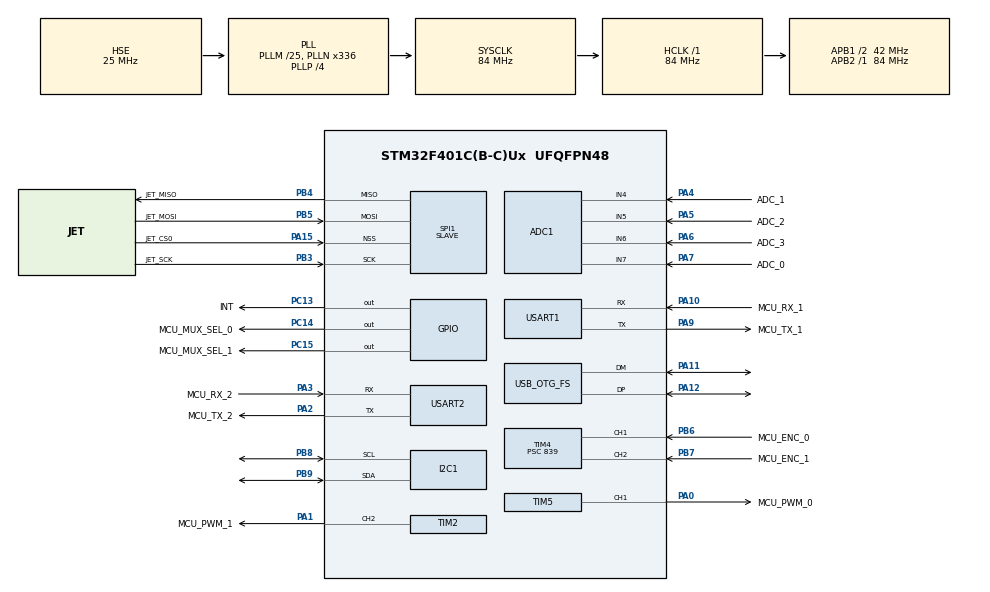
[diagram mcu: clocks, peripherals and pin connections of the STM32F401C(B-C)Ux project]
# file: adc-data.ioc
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ADC1.Channel-0\#ChannelRegularConversion=ADC_CHANNEL_4
ADC1.Channel-1\#ChannelRegularConversion=ADC_CHANNEL_4
ADC1.Channel-2\#ChannelRegularConversion=ADC_CHANNEL_4
ADC1.Channel-3\#ChannelRegularConversion=ADC_CHANNEL_4
ADC1.ContinuousConvMode=ENABLE
ADC1.DMAContinuousRequests=ENABLE
ADC1.EOCSelection=ADC_EOC_SEQ_CONV
ADC1.InjNumberOfConversion=0
ADC1.NbrOfConversion=4
ADC1.NbrOfConversionFlag=1
ADC1.Rank-0\#ChannelRegularConversion=1
ADC1.Rank-1\#ChannelRegularConversion=2
ADC1.Rank-2\#ChannelRegularConversion=3
ADC1.Rank-3\#ChannelRegularConversion=4
ADC1.SamplingTime-0\#ChannelRegularConversion=ADC_SAMPLETIME_3CYCLES
ADC1.SamplingTime-1\#ChannelRegularConversion=ADC_SAMPLETIME_3CYCLES
ADC1.SamplingTime-2\#ChannelRegularConversion=ADC_SAMPLETIME_3CYCLES
ADC1.SamplingTime-3\#ChannelRegularConversion=ADC_SAMPLETIME_3CYCLES
ADC1.ScanConvMode=ENABLE
ADC1.master=1
Dma.ADC1.0.Direction=DMA_PERIPH_TO_MEMORY
Dma.ADC1.0.FIFOMode=DMA_FIFOMODE_DISABLE
Dma.ADC1.0.Instance=DMA2_Stream4
Dma.ADC1.0.MemDataAlignment=DMA_MDATAALIGN_HALFWORD
Dma.ADC1.0.MemInc=DMA_MINC_ENABLE
Dma.ADC1.0.Mode=DMA_CIRCULAR
Dma.ADC1.0.PeriphDataAlignment=DMA_PDATAALIGN_HALFWORD
Dma.ADC1.0.PeriphInc=DMA_PINC_DISABLE
Dma.ADC1.0.Priority=DMA_PRIORITY_LOW
Dma.Request0=ADC1
Mcu.Family=STM32F4
Mcu.Name=STM32F401C(B-C)Ux
Mcu.Package=UFQFPN48
NVIC.ADC_IRQn=true\:0\:0\:false\:false\:true\:true\:true\:true
NVIC.DMA2_Stream4_IRQn=true\:0\:0\:false\:false\:true\:false\:true\:true
NVIC.I2C1_ER_IRQn=true\:0\:0\:false\:false\:true\:true\:true\:true
NVIC.I2C1_EV_IRQn=true\:0\:0\:false\:false\:true\:true\:true\:true
NVIC.OTG_FS_IRQn=true\:0\:0\:false\:false\:true\:false\:true\:true
NVIC.PriorityGroup=NVIC_PRIORITYGROUP_4
NVIC.SPI1_IRQn=true\:0\:0\:false\:false\:true\:true\:true\:true
NVIC.TIM2_IRQn=true\:0\:0\:false\:false\:true\:true\:true\:true
NVIC.TIM3_IRQn=true\:0\:0\:false\:false\:true\:true\:true\:true
NVIC.TIM4_IRQn=true\:0\:0\:false\:false\:true\:true\:true\:true
NVIC.TIM5_IRQn=true\:0\:0\:false\:false\:true\:true\:true\:true
PA0-WKUP.GPIO_Label=MCU_PWM_0
PA0-WKUP.Signal=S_TIM5_CH1
PA1.GPIO_Label=MCU_PWM_1
PA1.Signal=S_TIM2_CH2
PA10.GPIO_Label=MCU_RX_1
PA10.Mode=Asynchronous
PA10.Signal=USART1_RX
PA11.Mode=Device_Only
PA11.Signal=USB_OTG_FS_DM
PA12.Mode=Device_Only
PA12.Signal=USB_OTG_FS_DP
PA13.Mode=Serial_Wire
PA13.Signal=SYS_JTMS-SWDIO
PA14.Mode=Serial_Wire
PA14.Signal=SYS_JTCK-SWCLK
PA15.GPIO_Label=JET_CS0
PA15.Mode=NSS_Signal_Hard_Input
PA15.Signal=SPI1_NSS
PA2.GPIO_Label=MCU_TX_2
PA2.Mode=Asynchronous
PA2.Signal=USART2_TX
PA3.GPIO_Label=MCU_RX_2
PA3.Mode=Asynchronous
PA3.Signal=USART2_RX
PA4.GPIO_Label=ADC_1
PA4.Signal=ADCx_IN4
PA5.GPIO_Label=ADC_2
PA5.Signal=ADCx_IN5
PA6.GPIO_Label=ADC_3
PA6.Signal=ADCx_IN6
PA7.GPIO_Label=ADC_0
PA7.Signal=ADCx_IN7
PA9.GPIO_Label=MCU_TX_1
PA9.Mode=Asynchronous
PA9.Signal=USART1_TX
PB3.GPIO_Label=JET_SCK
PB3.Mode=Full_Duplex_Slave
PB3.Signal=SPI1_SCK
PB4.GPIO_Label=JET_MISO
PB4.Mode=Full_Duplex_Slave
PB4.Signal=SPI1_MISO
PB5.GPIO_Label=JET_MOSI
PB5.Mode=Full_Duplex_Slave
PB5.Signal=SPI1_MOSI
PB6.GPIO_Label=MCU_ENC_0
PB6.Signal=S_TIM4_CH1
PB7.GPIO_Label=MCU_ENC_1
PB7.Signal=S_TIM4_CH2
PB8.Mode=I2C
PB8.Signal=I2C1_SCL
PB9.Mode=I2C
PB9.Signal=I2C1_SDA
PC13-ANTI_TAMP.GPIO_Label=INT
PC13-ANTI_TAMP.Signal=GPIO_Output
PC14-OSC32_IN.GPIO_Label=MCU_MUX_SEL_0
PC14-OSC32_IN.Signal=GPIO_Output
PC15-OSC32_OUT.GPIO_Label=MCU_MUX_SEL_1
PC15-OSC32_OUT.Signal=GPIO_Output
PH0\ -\ OSC_IN.Mode=HSE-External-Oscillator
PH0\ -\ OSC_IN.Signal=RCC_OSC_IN
PH1\ -\ OSC_OUT.Mode=HSE-External-Oscillator
PH1\ -\ OSC_OUT.Signal=RCC_OSC_OUT
ProjectManager.HeapSize=0x200
ProjectManager.StackSize=0x400
ProjectManager.TargetToolchain=CMake
RCC.48MHZClocksFreq_Value=48000000
RCC.AHBFreq_Value=84000000
RCC.APB1CLKDivider=RCC_HCLK_DIV2
RCC.APB1Freq_Value=42000000
RCC.APB1TimFreq_Value=84000000
RCC.APB2Freq_Value=84000000
RCC.APB2TimFreq_Value=84000000
RCC.CortexFreq_Value=84000000
RCC.HCLKFreq_Value=84000000
RCC.HSE_VALUE=25000000
RCC.HSI_VALUE=16000000
RCC.LSE_VALUE=32768
RCC.PLLM=25
RCC.PLLN=336
RCC.PLLP=RCC_PLLP_DIV4
RCC.PLLQ=7
RCC.SYSCLKFreq_VALUE=84000000
RCC.SYSCLKSource=RCC_SYSCLKSOURCE_PLLCLK
RCC.VCOOutputFreq_Value=336000000
SH.ADCx_IN4.0=ADC1_IN4,IN4
SH.ADCx_IN5.0=ADC1_IN5,IN5
SH.ADCx_IN6.0=ADC1_IN6,IN6
SH.ADCx_IN7.0=ADC1_IN7,IN7
SH.S_TIM2_CH2.0=TIM2_CH2,PWM Generation2 CH2
SH.S_TIM4_CH1.0=TIM4_CH1,Encoder_Interface
SH.S_TIM4_CH2.0=TIM4_CH2,Encoder_Interface
SH.S_TIM5_CH1.0=TIM5_CH1,PWM Generation1 CH1
SPI1.CLKPhase=SPI_PHASE_2EDGE
SPI1.Direction=SPI_DIRECTION_2LINES
SPI1.Mode=SPI_MODE_SLAVE
SPI1.VirtualNSS=VM_NSSHARD
SPI1.VirtualType=VM_SLAVE
TIM2.Channel-PWM\ Generation2\ CH2=TIM_CHANNEL_2
TIM2.Period=1000
TIM2.Prescaler=839
TIM3.AutoReloadPreload=TIM_AUTORELOAD_PRELOAD_ENABLE
TIM3.Period=1000
TIM3.Prescaler=830
TIM4.Period=1000
TIM4.Prescaler=839
TIM5.AutoReloadPreload=TIM_AUTORELOAD_PRELOAD_ENABLE
TIM5.Channel-PWM\ Generation1\ CH1=TIM_CHANNEL_1
TIM5.Period=1000
TIM5.Prescaler=839
USART1.VirtualMode=VM_ASYNC
USART2.VirtualMode=VM_ASYNC
USB_DEVICE.CLASS_NAME_FS=CDC
USB_DEVICE.MANUFACTURER_STRING=BatChip
USB_DEVICE.PRODUCT_STRING_CDC_FS=BatPort
USB_DEVICE.VirtualMode=Cdc
USB_DEVICE.VirtualModeFS=Cdc_FS
USB_OTG_FS.VirtualMode=Device_Only
VP_ADC1_TempSens_Input.Mode=IN-TempSens
VP_TIM2_VS_ClockSourceINT.Mode=Internal
VP_TIM3_VS_ClockSourceINT.Mode=Internal
VP_TIM5_VS_ClockSourceINT.Mode=Internal
VP_USB_DEVICE_VS_USB_DEVICE_CDC_FS.Mode=CDC_FS
board=custom

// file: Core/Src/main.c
/* USER CODE BEGIN Header */
/* USER CODE END Header */
// ...existing code...
#include "main.h"
#include "usb_device.h"
#include "spi_rpc.h"
// ...existing code...
/* USER CODE BEGIN Includes */
#include <string.h>  // For memcpy
/* USER CODE END Includes */

ADC_HandleTypeDef hadc1;
DMA_HandleTypeDef hdma_adc1;

I2C_HandleTypeDef hi2c1;

SPI_HandleTypeDef hspi1;

TIM_HandleTypeDef htim2;
TIM_HandleTypeDef htim3;
TIM_HandleTypeDef htim4;
TIM_HandleTypeDef htim5;

UART_HandleTypeDef huart1;
UART_HandleTypeDef huart2;

/* USER CODE BEGIN PV */
//batmujik
uint16_t ADC_VAL[4];
int count = 0;
uint8_t rx_buffer[1]={'a'}; // Buffer for single byte reception
volatile uint8_t data_ready = 0; // Flag to indicate data is received

// Single byte for current transfer
volatile uint8_t spi_rx = 0; // Current received byte
volatile uint8_t spi_tx = 0; // Current transmit byte

// 64-byte buffers for production use
#define SPI_BUFFER_SIZE 64
volatile uint8_t spi_rx_buffer[SPI_BUFFER_SIZE] = {0}; // Receive buffer
volatile uint8_t spi_tx_buffer[SPI_BUFFER_SIZE] = {0}; // Transmit buffer
volatile uint8_t buffer_index = 0; // Current position in buffers
volatile uint8_t transfer_complete = 0; // Flag when transfer complete

volatile uint8_t counter = 0; // Counter for deterministic pattern
volatile uint8_t rx_buffer_large[64] = {0}; // Buffer for 64-byte payloads
volatile uint8_t tx_buffer_large[64] = {0}; // Buffer to send back
volatile uint8_t rx_index = 0; // Index for RX buffer
volatile uint8_t tx_index = 0; // Index for TX buffer
volatile uint8_t payload_received = 0; // Flag when 64 bytes received
volatile uint8_t sending_back = 0; // Flag indicating we're sending data back
/* USER CODE END PV */

void SystemClock_Config(void);
static void MX_GPIO_Init(void);
static void MX_DMA_Init(void);
static void MX_ADC1_Init(void);
static void MX_USART1_UART_Init(void);
static void MX_I2C1_Init(void);
static void MX_TIM2_Init(void);
static void MX_TIM3_Init(void);
static void MX_TIM4_Init(void);
static void MX_TIM5_Init(void);
static void MX_USART2_UART_Init(void);
static void MX_SPI1_Init(void);

int main(void)
{

  /* MCU Configuration--------------------------------------------------------*/

  /* Reset of all peripherals, Initializes the Flash interface and the Systick. */
  HAL_Init();

  /* Configure the system clock */
  SystemClock_Config();

  /* Initialize all configured peripherals */
  MX_GPIO_Init();
  MX_DMA_Init();
  MX_ADC1_Init();
  MX_USART1_UART_Init();
  MX_I2C1_Init();
  MX_TIM2_Init();
  MX_TIM3_Init();
  MX_TIM4_Init();
  MX_TIM5_Init();
  MX_USART2_UART_Init();
  MX_USB_DEVICE_Init();
  MX_SPI1_Init();
  /* USER CODE BEGIN 2 */
  // Initialize SPI RPC system
  spi_rpc_init();

  // Clear buffers completely
  memset((void*)spi_rx_buffer, 0, SPI_BUFFER_SIZE);
  memset((void*)spi_tx_buffer, 0, SPI_BUFFER_SIZE);

  HAL_TIM_Base_Start_IT(&htim5);
  HAL_TIM_Base_Start_IT(&htim3);
  HAL_TIM_Base_Start_IT(&htim2);

  HAL_TIM_PWM_Start(&htim2, TIM_CHANNEL_2);
  HAL_TIM_PWM_Start(&htim5, TIM_CHANNEL_1);
  // Start SPI slave reception
  //HAL_ADC_Start_DMA(&hadc1, ADC_VAL, 4);

  // Initialize TX buffer with 'A' for all bytes
  TIM5->CCR1 = 1500;

  // Receive all 64 bytes at once
  HAL_SPI_TransmitReceive_IT(&hspi1, (uint8_t*)spi_tx_buffer, (uint8_t*)spi_rx_buffer, SPI_BUFFER_SIZE);
  /* USER CODE END 2 */

  /* Infinite loop */
  /* USER CODE BEGIN WHILE */
  while (1) {

    // Check if we received a complete 64-byte payload
    if (payload_received) {
      payload_received = 0; // Clear flag
      // Payload is stored in rx_buffer_large[0-63]
      // It will be automatically sent back via the callback
    }
    // TIM5->CCR1=1000;
    // HAL_Delay(300); // Small delay
    // TIM5->CCR1=1500;
    // HAL_Delay(300); // Small delay
    // TIM5->CCR1=2000;
    // HAL_Delay(300); // Small delay
    // TIM5->CCR1=1000;
    // HAL_Delay(300); // Small delay
    /* USER CODE END WHILE */

  }
}

void SystemClock_Config(void)
{
  RCC_OscInitTypeDef RCC_OscInitStruct = {0};
  RCC_ClkInitTypeDef RCC_ClkInitStruct = {0};

  /** Configure the main internal regulator output voltage
  */
  __HAL_RCC_PWR_CLK_ENABLE();
  __HAL_PWR_VOLTAGESCALING_CONFIG(PWR_REGULATOR_VOLTAGE_SCALE2);

  /** Initializes the RCC Oscillators according to the specified parameters
  * in the RCC_OscInitTypeDef structure.
  */
  RCC_OscInitStruct.OscillatorType = RCC_OSCILLATORTYPE_HSE;
  RCC_OscInitStruct.HSEState = RCC_HSE_ON;
  RCC_OscInitStruct.PLL.PLLState = RCC_PLL_ON;
  RCC_OscInitStruct.PLL.PLLSource = RCC_PLLSOURCE_HSE;
  RCC_OscInitStruct.PLL.PLLM = 25;
  RCC_OscInitStruct.PLL.PLLN = 336;
  RCC_OscInitStruct.PLL.PLLP = RCC_PLLP_DIV4;
  RCC_OscInitStruct.PLL.PLLQ = 7;
  if (HAL_RCC_OscConfig(&RCC_OscInitStruct) != HAL_OK)
  {
    Error_Handler();
  }

  /** Initializes the CPU, AHB and APB buses clocks
  */
  RCC_ClkInitStruct.ClockType = RCC_CLOCKTYPE_HCLK|RCC_CLOCKTYPE_SYSCLK
                              |RCC_CLOCKTYPE_PCLK1|RCC_CLOCKTYPE_PCLK2;
  RCC_ClkInitStruct.SYSCLKSource = RCC_SYSCLKSOURCE_PLLCLK;
  RCC_ClkInitStruct.AHBCLKDivider = RCC_SYSCLK_DIV1;
  RCC_ClkInitStruct.APB1CLKDivider = RCC_HCLK_DIV2;
  RCC_ClkInitStruct.APB2CLKDivider = RCC_HCLK_DIV1;

  if (HAL_RCC_ClockConfig(&RCC_ClkInitStruct, FLASH_LATENCY_2) != HAL_OK)
  {
    Error_Handler();
  }
}

static void MX_ADC1_Init(void)
{

  ADC_ChannelConfTypeDef sConfig = {0};

  /** Configure the global features of the ADC (Clock, Resolution, Data Alignment and number of conversion)
  */
  hadc1.Instance = ADC1;
  hadc1.Init.ClockPrescaler = ADC_CLOCK_SYNC_PCLK_DIV4;
  hadc1.Init.Resolution = ADC_RESOLUTION_12B;
  hadc1.Init.ScanConvMode = ENABLE;
  hadc1.Init.ContinuousConvMode = ENABLE;
  hadc1.Init.DiscontinuousConvMode = DISABLE;
  hadc1.Init.ExternalTrigConvEdge = ADC_EXTERNALTRIGCONVEDGE_NONE;
  hadc1.Init.ExternalTrigConv = ADC_SOFTWARE_START;
  hadc1.Init.DataAlign = ADC_DATAALIGN_RIGHT;
  hadc1.Init.NbrOfConversion = 4;
  hadc1.Init.DMAContinuousRequests = ENABLE;
  hadc1.Init.EOCSelection = ADC_EOC_SEQ_CONV;
  if (HAL_ADC_Init(&hadc1) != HAL_OK)
  {
    Error_Handler();
  }

  /** Configure for the selected ADC regular channel its corresponding rank in the sequencer and its sample time.
  */
  sConfig.Channel = ADC_CHANNEL_4;
  sConfig.Rank = 1;
  sConfig.SamplingTime = ADC_SAMPLETIME_3CYCLES;
  if (HAL_ADC_ConfigChannel(&hadc1, &sConfig) != HAL_OK)
  {
    Error_Handler();
  }

  /** Configure for the selected ADC regular channel its corresponding rank in the sequencer and its sample time.
  */
  sConfig.Rank = 2;
  if (HAL_ADC_ConfigChannel(&hadc1, &sConfig) != HAL_OK)
  {
    Error_Handler();
  }

  /** Configure for the selected ADC regular channel its corresponding rank in the sequencer and its sample time.
  */
  sConfig.Rank = 3;
  if (HAL_ADC_ConfigChannel(&hadc1, &sConfig) != HAL_OK)
  {
    Error_Handler();
  }

  /** Configure for the selected ADC regular channel its corresponding rank in the sequencer and its sample time.
  */
  sConfig.Rank = 4;
  if (HAL_ADC_ConfigChannel(&hadc1, &sConfig) != HAL_OK)
  {
    Error_Handler();
  }

}

static void MX_I2C1_Init(void)
{

  hi2c1.Instance = I2C1;
  hi2c1.Init.ClockSpeed = 100000;
  hi2c1.Init.DutyCycle = I2C_DUTYCYCLE_2;
  hi2c1.Init.OwnAddress1 = 0;
  hi2c1.Init.AddressingMode = I2C_ADDRESSINGMODE_7BIT;
  hi2c1.Init.DualAddressMode = I2C_DUALADDRESS_DISABLE;
  hi2c1.Init.OwnAddress2 = 0;
  hi2c1.Init.GeneralCallMode = I2C_GENERALCALL_DISABLE;
  hi2c1.Init.NoStretchMode = I2C_NOSTRETCH_DISABLE;
  if (HAL_I2C_Init(&hi2c1) != HAL_OK)
  {
    Error_Handler();
  }

}

static void MX_SPI1_Init(void)
{

  /* SPI1 parameter configuration*/
  hspi1.Instance = SPI1;
  hspi1.Init.Mode = SPI_MODE_SLAVE;
  hspi1.Init.Direction = SPI_DIRECTION_2LINES;
  hspi1.Init.DataSize = SPI_DATASIZE_8BIT;
  hspi1.Init.CLKPolarity = SPI_POLARITY_LOW;
  hspi1.Init.CLKPhase = SPI_PHASE_2EDGE;
  hspi1.Init.NSS = SPI_NSS_HARD_INPUT;
  hspi1.Init.FirstBit = SPI_FIRSTBIT_MSB;
  hspi1.Init.TIMode = SPI_TIMODE_DISABLE;
  hspi1.Init.CRCCalculation = SPI_CRCCALCULATION_DISABLE;
  hspi1.Init.CRCPolynomial = 10;
  if (HAL_SPI_Init(&hspi1) != HAL_OK)
  {
    Error_Handler();
  }

}

static void MX_TIM2_Init(void)
{

  TIM_ClockConfigTypeDef sClockSourceConfig = {0};
  TIM_MasterConfigTypeDef sMasterConfig = {0};
  TIM_OC_InitTypeDef sConfigOC = {0};

  htim2.Instance = TIM2;
  htim2.Init.Prescaler = 839;
  htim2.Init.CounterMode = TIM_COUNTERMODE_UP;
  htim2.Init.Period = 1000;
  htim2.Init.ClockDivision = TIM_CLOCKDIVISION_DIV1;
  htim2.Init.AutoReloadPreload = TIM_AUTORELOAD_PRELOAD_DISABLE;
  if (HAL_TIM_Base_Init(&htim2) != HAL_OK)
  {
    Error_Handler();
  }
  sClockSourceConfig.ClockSource = TIM_CLOCKSOURCE_INTERNAL;
  if (HAL_TIM_ConfigClockSource(&htim2, &sClockSourceConfig) != HAL_OK)
  {
    Error_Handler();
  }
  if (HAL_TIM_PWM_Init(&htim2) != HAL_OK)
  {
    Error_Handler();
  }
  sMasterConfig.MasterOutputTrigger = TIM_TRGO_RESET;
  sMasterConfig.MasterSlaveMode = TIM_MASTERSLAVEMODE_DISABLE;
  if (HAL_TIMEx_MasterConfigSynchronization(&htim2, &sMasterConfig) != HAL_OK)
  {
    Error_Handler();
  }
  sConfigOC.OCMode = TIM_OCMODE_PWM1;
  sConfigOC.Pulse = 0;
  sConfigOC.OCPolarity = TIM_OCPOLARITY_HIGH;
  sConfigOC.OCFastMode = TIM_OCFAST_DISABLE;
  if (HAL_TIM_PWM_ConfigChannel(&htim2, &sConfigOC, TIM_CHANNEL_2) != HAL_OK)
  {
    Error_Handler();
  }
  HAL_TIM_MspPostInit(&htim2);

}

static void MX_TIM3_Init(void)
{

  TIM_ClockConfigTypeDef sClockSourceConfig = {0};
  TIM_MasterConfigTypeDef sMasterConfig = {0};

  htim3.Instance = TIM3;
  htim3.Init.Prescaler = 839;
  htim3.Init.CounterMode = TIM_COUNTERMODE_UP;
  htim3.Init.Period = 1000;
  htim3.Init.ClockDivision = TIM_CLOCKDIVISION_DIV1;
  htim3.Init.AutoReloadPreload = TIM_AUTORELOAD_PRELOAD_ENABLE;
  if (HAL_TIM_Base_Init(&htim3) != HAL_OK)
  {
    Error_Handler();
  }
  sClockSourceConfig.ClockSource = TIM_CLOCKSOURCE_INTERNAL;
  if (HAL_TIM_ConfigClockSource(&htim3, &sClockSourceConfig) != HAL_OK)
  {
    Error_Handler();
  }
  sMasterConfig.MasterOutputTrigger = TIM_TRGO_RESET;
  sMasterConfig.MasterSlaveMode = TIM_MASTERSLAVEMODE_DISABLE;
  if (HAL_TIMEx_MasterConfigSynchronization(&htim3, &sMasterConfig) != HAL_OK)
  {
    Error_Handler();
  }

}

static void MX_TIM4_Init(void)
{

  TIM_Encoder_InitTypeDef sConfig = {0};
  TIM_MasterConfigTypeDef sMasterConfig = {0};

  htim4.Instance = TIM4;
  htim4.Init.Prescaler = 839;
  htim4.Init.CounterMode = TIM_COUNTERMODE_UP;
  htim4.Init.Period = 1000;
  htim4.Init.ClockDivision = TIM_CLOCKDIVISION_DIV1;
  htim4.Init.AutoReloadPreload = TIM_AUTORELOAD_PRELOAD_DISABLE;
  sConfig.EncoderMode = TIM_ENCODERMODE_TI1;
  sConfig.IC1Polarity = TIM_ICPOLARITY_RISING;
  sConfig.IC1Selection = TIM_ICSELECTION_DIRECTTI;
  sConfig.IC1Prescaler = TIM_ICPSC_DIV1;
  sConfig.IC1Filter = 0;
  sConfig.IC2Polarity = TIM_ICPOLARITY_RISING;
  sConfig.IC2Selection = TIM_ICSELECTION_DIRECTTI;
  sConfig.IC2Prescaler = TIM_ICPSC_DIV1;
  sConfig.IC2Filter = 0;
  if (HAL_TIM_Encoder_Init(&htim4, &sConfig) != HAL_OK)
  {
    Error_Handler();
  }
  sMasterConfig.MasterOutputTrigger = TIM_TRGO_RESET;
  sMasterConfig.MasterSlaveMode = TIM_MASTERSLAVEMODE_DISABLE;
  if (HAL_TIMEx_MasterConfigSynchronization(&htim4, &sMasterConfig) != HAL_OK)
  {
    Error_Handler();
  }

}

static void MX_TIM5_Init(void)
{

  TIM_ClockConfigTypeDef sClockSourceConfig = {0};
  TIM_MasterConfigTypeDef sMasterConfig = {0};
  TIM_OC_InitTypeDef sConfigOC = {0};

  htim5.Instance = TIM5;
  htim5.Init.Prescaler = 83;
  htim5.Init.CounterMode = TIM_COUNTERMODE_UP;
  htim5.Init.Period = 10000;
  htim5.Init.ClockDivision = TIM_CLOCKDIVISION_DIV1;
  htim5.Init.AutoReloadPreload = TIM_AUTORELOAD_PRELOAD_ENABLE;
  if (HAL_TIM_Base_Init(&htim5) != HAL_OK)
  {
    Error_Handler();
  }
  sClockSourceConfig.ClockSource = TIM_CLOCKSOURCE_INTERNAL;
  if (HAL_TIM_ConfigClockSource(&htim5, &sClockSourceConfig) != HAL_OK)
  {
    Error_Handler();
  }
  if (HAL_TIM_PWM_Init(&htim5) != HAL_OK)
  {
    Error_Handler();
  }
  sMasterConfig.MasterOutputTrigger = TIM_TRGO_RESET;
  sMasterConfig.MasterSlaveMode = TIM_MASTERSLAVEMODE_DISABLE;
  if (HAL_TIMEx_MasterConfigSynchronization(&htim5, &sMasterConfig) != HAL_OK)
  {
    Error_Handler();
  }
  sConfigOC.OCMode = TIM_OCMODE_PWM1;
  sConfigOC.Pulse = 0;
  sConfigOC.OCPolarity = TIM_OCPOLARITY_HIGH;
  sConfigOC.OCFastMode = TIM_OCFAST_DISABLE;
  if (HAL_TIM_PWM_ConfigChannel(&htim5, &sConfigOC, TIM_CHANNEL_1) != HAL_OK)
  {
    Error_Handler();
  }
  HAL_TIM_MspPostInit(&htim5);

}

static void MX_USART1_UART_Init(void)
{

  huart1.Instance = USART1;
  huart1.Init.BaudRate = 115200;
  huart1.Init.WordLength = UART_WORDLENGTH_8B;
  huart1.Init.StopBits = UART_STOPBITS_1;
  huart1.Init.Parity = UART_PARITY_NONE;
  huart1.Init.Mode = UART_MODE_TX_RX;
  huart1.Init.HwFlowCtl = UART_HWCONTROL_NONE;
  huart1.Init.OverSampling = UART_OVERSAMPLING_16;
  if (HAL_UART_Init(&huart1) != HAL_OK)
  {
    Error_Handler();
  }

}

static void MX_USART2_UART_Init(void)
{

  huart2.Instance = USART2;
  huart2.Init.BaudRate = 115200;
  huart2.Init.WordLength = UART_WORDLENGTH_8B;
  huart2.Init.StopBits = UART_STOPBITS_1;
  huart2.Init.Parity = UART_PARITY_NONE;
  huart2.Init.Mode = UART_MODE_TX_RX;
  huart2.Init.HwFlowCtl = UART_HWCONTROL_NONE;
  huart2.Init.OverSampling = UART_OVERSAMPLING_16;
  if (HAL_UART_Init(&huart2) != HAL_OK)
  {
    Error_Handler();
  }

}

static void MX_DMA_Init(void)
{

  /* DMA controller clock enable */
  __HAL_RCC_DMA2_CLK_ENABLE();

  /* DMA interrupt init */
  /* DMA2_Stream4_IRQn interrupt configuration */
  HAL_NVIC_SetPriority(DMA2_Stream4_IRQn, 0, 0);
  HAL_NVIC_EnableIRQ(DMA2_Stream4_IRQn);

}

static void MX_GPIO_Init(void)
{
  GPIO_InitTypeDef GPIO_InitStruct = {0};

  /* GPIO Ports Clock Enable */
  __HAL_RCC_GPIOC_CLK_ENABLE();
  __HAL_RCC_GPIOH_CLK_ENABLE();
  __HAL_RCC_GPIOA_CLK_ENABLE();
  __HAL_RCC_GPIOB_CLK_ENABLE();

  /*Configure GPIO pin Output Level */
  HAL_GPIO_WritePin(GPIOC, INT_Pin|MCU_MUX_SEL_0_Pin|MCU_MUX_SEL_1_Pin, GPIO_PIN_RESET);

  /*Configure GPIO pins : INT_Pin MCU_MUX_SEL_0_Pin MCU_MUX_SEL_1_Pin */
  GPIO_InitStruct.Pin = INT_Pin|MCU_MUX_SEL_0_Pin|MCU_MUX_SEL_1_Pin;
  GPIO_InitStruct.Mode = GPIO_MODE_OUTPUT_PP;
  GPIO_InitStruct.Pull = GPIO_NOPULL;
  GPIO_InitStruct.Speed = GPIO_SPEED_FREQ_LOW;
  HAL_GPIO_Init(GPIOC, &GPIO_InitStruct);

}

/* USER CODE BEGIN 4 */
void HAL_TIM_PeriodElapsedCallback(TIM_HandleTypeDef *htim)
{
  //////////////////////////////////////////////////////////// M0
  if (htim->Instance == TIM3)
  {
    // This callback is called every 1ms for TIM3
    // Place your periodic code here
    counter++;
    if(counter==99)
    {
        counter=0;
        //HAL_GPIO_TogglePin(GPIOC, GPIO_PIN_13);
    }
  }
}
static uint8_t processing_buffer[SPI_BUFFER_SIZE];

// DEBUG: Add persistent buffer to see last received data
static uint8_t debug_last_rx[SPI_BUFFER_SIZE] = {0};
static volatile uint32_t debug_rx_count = 0;
static volatile uint8_t debug_has_data = 0;

void HAL_SPI_TxRxCpltCallback(SPI_HandleTypeDef *hspi)
{
    if (hspi->Instance == SPI1)
    {
        // Toggle LED
        HAL_GPIO_TogglePin(GPIOC, GPIO_PIN_13);

        // Increment counter (watch this in live debug)
        debug_rx_count++;

        // Check if we received any non-zero data
        uint8_t has_data = 0;
        for (int i = 0; i < 20; i++) {  // Check first 20 bytes
            if (spi_rx_buffer[i] != 0) {
                has_data = 1;
                break;
            }
        }

        // Only update debug buffer if we got real data (not all zeros)
        if (has_data) {
            memcpy(debug_last_rx, (void*)spi_rx_buffer, SPI_BUFFER_SIZE);
            debug_has_data = 1;  // Flag that we have valid data
        }

        // Copy to processing buffer
        memcpy(processing_buffer, (void*)spi_rx_buffer, SPI_BUFFER_SIZE);

        // Prepare clean TX buffer
        memset((void*)spi_tx_buffer, 0, SPI_BUFFER_SIZE);

        // Restart SPI
        hspi->State = HAL_SPI_STATE_READY;
        HAL_SPI_TransmitReceive_IT(&hspi1,
            (uint8_t*)spi_tx_buffer,
            (uint8_t*)spi_rx_buffer,
            SPI_BUFFER_SIZE);

        // Clear RX buffer after restart
        memset((void*)spi_rx_buffer, 0, SPI_BUFFER_SIZE);

        // Process data
        for (uint16_t i = 0; i < SPI_BUFFER_SIZE; ++i) {
            if (processing_buffer[i] != 0) {
                spi_rpc_on_rx_byte(processing_buffer[i]);
            }
        }
    }
}

void spi_rpc_send_response(const char *resp)
{
    if (resp && resp[0]) {
        size_t len = strlen(resp);
        if (len > SPI_BUFFER_SIZE) len = SPI_BUFFER_SIZE;
        memcpy((void*)spi_tx_buffer, resp, len);
    }
}

void HAL_SPI_ErrorCallback(SPI_HandleTypeDef *hspi)
{
    if (hspi->Instance == SPI1)
    {
        memset((void*)spi_tx_buffer, 0, SPI_BUFFER_SIZE);
        memset((void*)spi_rx_buffer, 0, SPI_BUFFER_SIZE);
        hspi->State = HAL_SPI_STATE_READY;
        HAL_SPI_TransmitReceive_IT(&hspi1, (uint8_t*)spi_tx_buffer, (uint8_t*)spi_rx_buffer, SPI_BUFFER_SIZE);
    }
}
/* USER CODE END 4 */

void Error_Handler(void)
{
}
